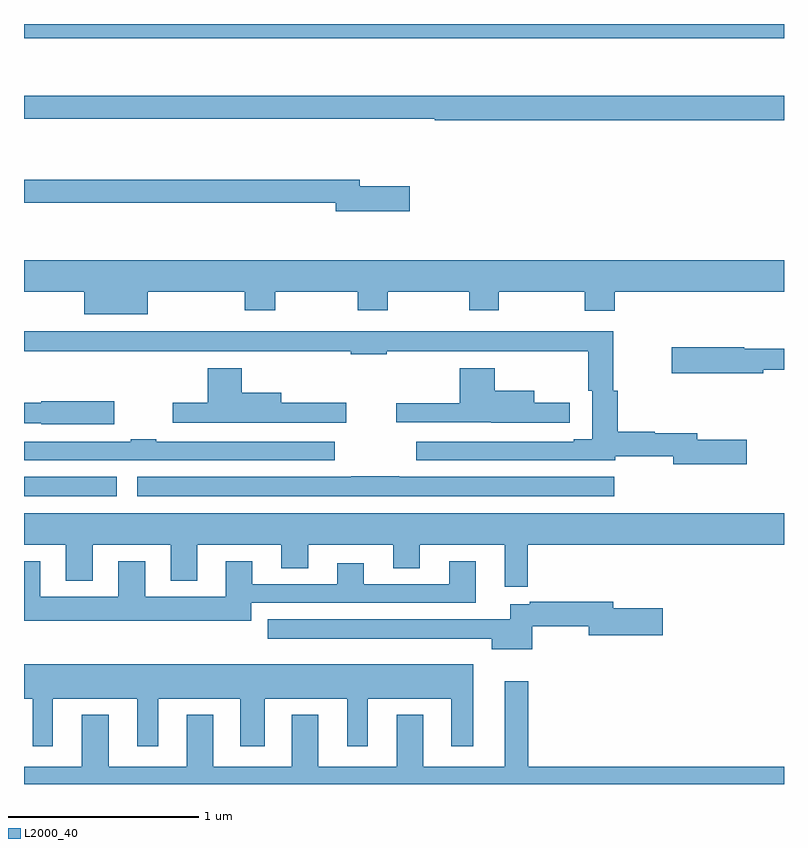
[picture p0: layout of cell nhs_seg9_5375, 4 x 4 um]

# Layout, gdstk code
import gdstk
lib = gdstk.Library(unit=1e-6, precision=1e-09)
def R(c, l, rs):  # rectangles x0, y0, x1, y1
    for r in rs: c.add(gdstk.rectangle(r[:2], r[2:], *l))
def P(c, l, *ps):  # polygons
    for p in ps: c.add(gdstk.Polygon(p, *l))
L2000_40 = (2000, 40)

nhs_seg9_5375 = lib.new_cell('nhs_seg9_5375')
R(nhs_seg9_5375, L2000_40, [(423,1190.015,423.487,1190.116), (423,1192.424,427,1192.5)])
P(nhs_seg9_5375, L2000_40, [(427,1192.123),(423,1192.123),(423,1192.002),(425.162,1192.002),(425.162,1191.994),(427,1191.994)],
  [(425.029,1191.645),(424.768,1191.645),(424.768,1191.679),(423,1191.679),(423,1191.558),(424.64,1191.558),(424.64,1191.515),(425.029,1191.515)],
  [(423.652,1191.092),(424.163,1191.092),(424.163,1190.993),(424.323,1190.993),(424.323,1191.092),(424.756,1191.092),(424.756,1190.993),(424.914,1190.993),(424.914,1191.092),(425.344,1191.092),(425.344,1190.993),(425.499,1190.993),(425.499,1191.092),(425.95,1191.092),(425.95,1190.99),(426.11,1190.99),(426.11,1191.092),(427,1191.092),(427,1191.256),(423,1191.256),(423,1191.092),(423.317,1191.092),(423.317,1190.972),(423.652,1190.972)],
  [(426.805,1190.313),(426.544,1190.313),(426.544,1190.347),(426.32,1190.347),(426.32,1190.354),(426.125,1190.354),(426.125,1190.571),(426.1,1190.571),(426.1,1190.884),(423,1190.884),(423,1190.777),(424.719,1190.777),(424.719,1190.762),(424.91,1190.762),(424.91,1190.777),(425.971,1190.777),(425.971,1190.571),(425.991,1190.571),(425.991,1190.314),(425.894,1190.314),(425.894,1190.301),(425.064,1190.301),(425.064,1190.205),(426.112,1190.205),(426.112,1190.226),(426.416,1190.226),(426.416,1190.183),(426.805,1190.183)],
  [(426.892,1190.681),(427,1190.681),(427,1190.791),(426.792,1190.791),(426.792,1190.799),(426.408,1190.799),(426.408,1190.662),(426.892,1190.662)],
  [(424.696,1190.506),(424.354,1190.506),(424.354,1190.56),(424.145,1190.56),(424.145,1190.689),(423.967,1190.689),(423.967,1190.506),(423.783,1190.506),(423.783,1190.402),(424.696,1190.402)],
  [(425.872,1190.506),(425.686,1190.506),(425.686,1190.569),(425.477,1190.569),(425.477,1190.689),(425.294,1190.689),(425.294,1190.504),(424.959,1190.504),(424.959,1190.403),(425.46,1190.403),(425.46,1190.402),(425.872,1190.402)],
  [(423.475,1190.515),(423.09,1190.515),(423.09,1190.506),(423,1190.506),(423,1190.399),(423.09,1190.399),(423.09,1190.393),(423.475,1190.393)],
  [(424.636,1190.301),(423.695,1190.301),(423.695,1190.314),(423.562,1190.314),(423.562,1190.301),(423,1190.301),(423,1190.205),(424.636,1190.205)],
  [(426.106,1190.116),(424.976,1190.116),(424.976,1190.119),(424.723,1190.119),(424.723,1190.116),(423.597,1190.116),(423.597,1190.015),(426.106,1190.015)],
  [(425.652,1189.76),(427,1189.76),(427,1189.924),(423,1189.924),(423,1189.76),(423.221,1189.76),(423.221,1189.571),(423.361,1189.571),(423.361,1189.76),(423.773,1189.76),(423.773,1189.571),(423.913,1189.571),(423.913,1189.76),(424.355,1189.76),(424.355,1189.636),(424.495,1189.636),(424.495,1189.76),(424.943,1189.76),(424.943,1189.636),(425.083,1189.636),(425.083,1189.76),(425.531,1189.76),(425.531,1189.539),(425.652,1189.539)],
  [(424.195,1189.455),(425.377,1189.455),(425.377,1189.672),(425.237,1189.672),(425.237,1189.551),(424.789,1189.551),(424.789,1189.663),(424.649,1189.663),(424.649,1189.551),(424.201,1189.551),(424.201,1189.672),(424.061,1189.672),(424.061,1189.486),(423.637,1189.486),(423.637,1189.672),(423.497,1189.672),(423.497,1189.486),(423.085,1189.486),(423.085,1189.672),(423,1189.672),(423,1189.358),(424.195,1189.358)],
  [(425.676,1189.33),(425.972,1189.33),(425.972,1189.283),(426.361,1189.283),(426.361,1189.425),(426.1,1189.425),(426.1,1189.459),(425.764,1189.459),(425.764,1189.458),(425.662,1189.458),(425.662,1189.446),(425.558,1189.446),(425.558,1189.366),(424.284,1189.366),(424.284,1189.265),(425.462,1189.265),(425.462,1189.208),(425.676,1189.208)],
  [(423.151,1188.95),(423.596,1188.95),(423.596,1188.699),(423.706,1188.699),(423.706,1188.95),(424.139,1188.95),(424.139,1188.699),(424.267,1188.699),(424.267,1188.95),(424.7,1188.95),(424.7,1188.699),(424.81,1188.699),(424.81,1188.95),(425.249,1188.95),(425.249,1188.699),(425.365,1188.699),(425.365,1189.129),(423,1189.129),(423,1188.95),(423.047,1188.95),(423.047,1188.699),(423.151,1188.699)],
  [(427,1188.592),(425.653,1188.592),(425.653,1189.042),(425.531,1189.042),(425.531,1188.592),(425.101,1188.592),(425.101,1188.865),(424.961,1188.865),(424.961,1188.592),(424.549,1188.592),(424.549,1188.865),(424.409,1188.865),(424.409,1188.592),(423.997,1188.592),(423.997,1188.865),(423.857,1188.865),(423.857,1188.592),(423.445,1188.592),(423.445,1188.865),(423.305,1188.865),(423.305,1188.592),(423,1188.592),(423,1188.5),(427,1188.5)])

lib.write_gds('nhs_seg9_5375.gds')
